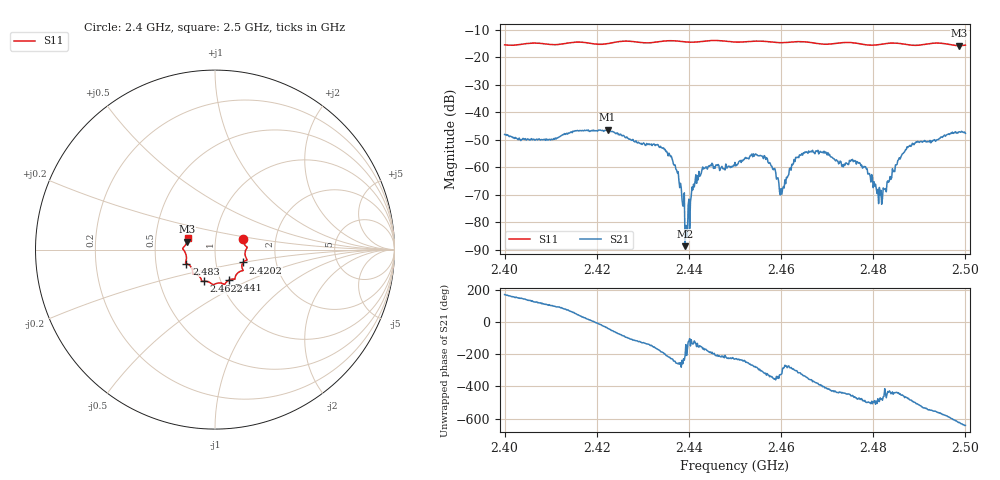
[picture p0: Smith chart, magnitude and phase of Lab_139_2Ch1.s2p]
# Hz S RI R 50
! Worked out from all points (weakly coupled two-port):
!   601 points, 2.4 GHz to 2.5 GHz, reference 50 ohm
!   highest |S21| = -46.39 dB at 2.4223 GHz (marker M1); lowest = -88.7 dB at 2.4392 GHz (marker M2)
!   lowest |S11| = -15.8 dB at 2.4987 GHz (marker M3), VSWR 1.39, Z = 36.4 + j3.33 ohm
!   |S11| at or under -10 dB: start of sweep to end of sweep
!   S12 and S22 are empty: the file has one direction only
!   S11 on the Smith chart (normalised r, x): 2.4 GHz: 1.36, +0.17; 2.4202 GHz: 1.35, -0.20; 2.441 GHz: 1.09, -0.39; 2.4622 GHz: 0.83, -0.30; 2.483 GHz: 0.72, -0.12; 2.5 GHz: 0.73, +0.09
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2.4e9  0.1561 0.0602  -0.00386 0.000694  0 0  0 0
2.416667e9  0.1776 -0.0583  0.00379 0.00256  0 0  0 0
2.420167e9  0.1558 -0.0717  0.00448 -0.000606  0 0  0 0
2.422333e9  0.1492 -0.0928  0.00373 -0.003  0 0  0 0
2.433333e9  0.113 -0.1525  -0.00251 -0.000362  0 0  0 0
2.437167e9  0.1078 -0.1653  -0.000246 0.000891  0 0  0 0
2.439167e9  0.0941 -0.1644  -3.16e-05 1.86e-05  0 0  0 0
2.439667e9  0.0893 -0.1652  -5.4e-05 -1.01e-05  0 0  0 0
2.441e9  0.0765 -0.1705  -0.000341 -0.000352  0 0  0 0
2.443333e9  0.0595 -0.1857  -0.000949 -0.000116  0 0  0 0
2.45e9  0.0263 -0.186  -0.000793 0.000926  0 0  0 0
2.4565e9  -0.0158 -0.1926  0.0012 0.00101  0 0  0 0
2.460167e9  -0.0448 -0.1774  0.000251 0.000203  0 0  0 0
2.462167e9  -0.0635 -0.1766  0.000188 0.00086  0 0  0 0
2.466667e9  -0.0765 -0.1666  0.0019 9.77e-06  0 0  0 0
2.477e9  -0.1248 -0.123  -0.000473 -0.00111  0 0  0 0
2.4815e9  -0.1486 -0.0829  -0.000107 -0.000287  0 0  0 0
2.483e9  -0.1594 -0.0781  2.54e-05 -0.000535  0 0  0 0
2.483333e9  -0.161 -0.0775  0.000126 -0.000516  0 0  0 0
2.487833e9  -0.1592 -0.0499  -0.00124 -0.00207  0 0  0 0
2.498667e9  -0.1555 0.0445  -0.000597 0.00436  0 0  0 0
2.5e9  -0.1526 0.0631  0.000827 0.00404  0 0  0 0
